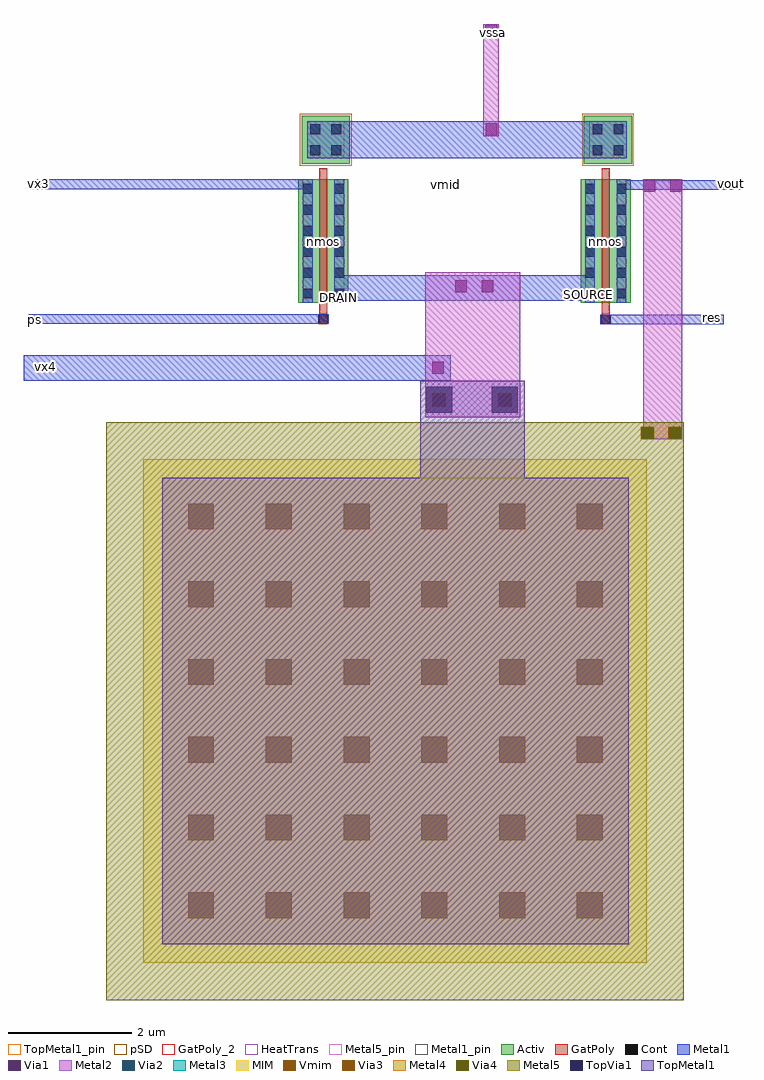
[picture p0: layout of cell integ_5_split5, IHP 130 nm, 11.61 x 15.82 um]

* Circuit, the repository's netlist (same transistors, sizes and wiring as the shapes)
** sch_path: /foss/designs/integ_5_split5.sch
.subckt integ_5_split5 res vout vx4 VSS ps vx3
*.PININFO res:I vssa:B vout:O vx3:B ps:B vx4:B
M1 vout res vx4 VSS sg13_lv_nmos L=0.13u W=2u ng=1 m=1
C1 vx4 vout cap_cmim W=8.16e-6 L=8.16e-6 MF=1
M2 vx4 ps vx3 VSS sg13_lv_nmos L=0.13u W=2u ng=1 m=1
.ends
.end

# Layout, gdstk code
from math import pi, radians
import gdstk
lib = gdstk.Library(unit=1e-6, precision=1e-09)
def R(c, l, rs):  # rectangles x0, y0, x1, y1
    for r in rs: c.add(gdstk.rectangle(r[:2], r[2:], *l))
def A(c, l, x, y, w, h, nx, ny, dx, dy):  # array of equal rectangles
    R(c, l, [(x+i*dx, y+j*dy, x+i*dx+w, y+j*dy+h) for i in range(nx) for j in range(ny)])
Activ = (1, 0)
GatPoly = (5, 0)
GatPoly_2 = (5, 2)
Cont = (6, 0)
Metal1 = (8, 0)
Metal1_pin = (8, 2)
Metal2 = (10, 0)
pSD = (14, 0)
Via1 = (19, 0)
Via2 = (29, 0)
Metal3 = (30, 0)
MIM = (36, 0)
Via3 = (49, 0)
Metal4 = (50, 0)
HeatTrans = (51, 0)
Via4 = (66, 0)
Metal5 = (67, 0)
Metal5_pin = (67, 2)
TopVia1 = (125, 0)
TopMetal1 = (126, 0)
TopMetal1_pin = (126, 2)
Vmim = (129, 0)

cmim = lib.new_cell('cmim')
R(cmim, MIM, [(0,0,8.16,8.16)])
R(cmim, Metal5, [(-0.6,-0.6,8.76,8.76)])
R(cmim, Metal5_pin, [(-0.6,-0.6,8.76,8.76)])
R(cmim, TopMetal1, [(0.295,0.295,7.855,7.855)])
R(cmim, TopMetal1_pin, [(0.295,0.295,7.855,7.855)])
A(cmim, Vmim, 0.715, 0.715, 0.42, 0.42, 6, 6, 1.26, 1.26)

integ_5_split5 = lib.new_cell('integ_5_split5')
R(integ_5_split5, Activ, [(-0.577,-1.81,0.233,0.19), (3.999,-1.81,4.809,0.19), (-0.577,-0.11,-0.277,0.19), (-0.067,-0.11,0.233,0.19), (3.999,-0.11,4.299,0.19), (4.509,-0.11,4.809,0.19), (-0.526,0.442,0.254,1.222), (4.05,0.442,4.83,1.222)])
R(integ_5_split5, GatPoly, [(-0.237,-2.159,-0.107,0.37), (4.339,-2.158,4.469,0.37)])
R(integ_5_split5, GatPoly_2, [(-0.237,-1.99,-0.107,0.37), (-0.237,-1.99,-0.107,0.37), (4.339,-1.99,4.469,0.37), (4.339,-1.99,4.469,0.37)])
A(integ_5_split5, Cont, -0.507, -1.74, 0.16, 0.16, 1, 6, 0, 0.34)
A(integ_5_split5, Cont, 0.003, -1.74, 0.16, 0.16, 1, 6, 0, 0.34)
A(integ_5_split5, Cont, 4.069, -1.74, 0.16, 0.16, 1, 6, 0, 0.34)
A(integ_5_split5, Cont, 4.579, -1.74, 0.16, 0.16, 1, 6, 0, 0.34)
R(integ_5_split5, Cont, [(4.324,-2.16,4.484,-2), (-0.257,-2.153,-0.097,-1.993), (-0.386,0.582,-0.226,0.742), (-0.046,0.582,0.114,0.742), (4.19,0.582,4.35,0.742), (4.53,0.582,4.69,0.742), (-0.386,0.922,-0.226,1.082), (-0.046,0.922,0.114,1.082), (4.19,0.922,4.35,1.082), (4.53,0.922,4.69,1.082)])
R(integ_5_split5, Metal1, [(-5.029,-3.071,1.893,-2.658), (4.314,-2.16,6.314,-2), (-4.949,-2.153,-0.087,-1.993), (-0.507,-1.81,-0.347,0.19), (0.003,-1.81,0.163,0.19), (4.069,-1.81,4.229,0.19), (4.579,-1.81,4.739,0.19), (0.042,-1.775,4.121,-1.362), (4.584,0.018,6.584,0.178), (-4.884,0.03,-0.353,0.19), (-0.436,0.532,0.164,1.132), (0.1,0.532,4.74,1.132)])
R(integ_5_split5, Metal1_pin, [(-0.507,-1.81,-0.347,0.19), (-0.507,-1.81,-0.347,0.19), (0.003,-1.81,0.163,0.19), (0.003,-1.81,0.163,0.19), (4.069,-1.81,4.229,0.19), (4.069,-1.81,4.229,0.19), (4.579,-1.81,4.739,0.19), (4.579,-1.81,4.739,0.19), (-0.436,0.532,0.164,1.132), (4.14,0.532,4.74,1.132)])
R(integ_5_split5, Metal2, [(4.976,-4.024,5.185,-3.82), (5.419,-4.024,5.628,-3.82), (5.008,-4.023,5.646,0.19), (1.479,-3.665,3.018,-1.318), (1.604,-3.487,1.808,-3.278), (2.667,-3.487,2.871,-3.278), (2.421,0.888,2.669,2.708)])
R(integ_5_split5, pSD, [(-0.556,0.412,0.284,1.252), (4.02,0.412,4.86,1.252)])
R(integ_5_split5, Via1, [(1.609,-3.477,1.799,-3.287), (2.672,-3.477,2.862,-3.287), (1.588,-2.958,1.778,-2.768), (1.961,-1.638,2.151,-1.448), (2.394,-1.638,2.584,-1.448), (5.013,-0.007,5.203,0.183), (5.446,-0.007,5.636,0.183), (2.458,0.907,2.648,1.097), (2.452,2.505,2.642,2.695)])
R(integ_5_split5, Via2, [(4.986,-4.015,5.176,-3.825), (5.429,-4.015,5.619,-3.825), (1.609,-3.477,1.799,-3.287), (2.672,-3.477,2.862,-3.287)])
R(integ_5_split5, Metal3, [(4.978,-4.024,5.186,-3.818), (5.421,-4.024,5.629,-3.818), (1.602,-3.485,1.808,-3.277), (2.665,-3.485,2.871,-3.277)])
R(integ_5_split5, Via3, [(4.986,-4.015,5.176,-3.825), (5.429,-4.015,5.619,-3.825), (1.609,-3.477,1.799,-3.287), (2.672,-3.477,2.862,-3.287)])
R(integ_5_split5, Metal4, [(4.971,-4.025,5.189,-3.815), (5.414,-4.025,5.632,-3.815), (1.599,-3.492,1.809,-3.274), (2.662,-3.492,2.872,-3.274)])
R(integ_5_split5, HeatTrans, [(-0.237,-1.99,-0.107,0.37), (4.339,-1.99,4.469,0.37)])
R(integ_5_split5, Via4, [(4.986,-4.015,5.176,-3.825), (5.429,-4.015,5.619,-3.825), (1.609,-3.477,1.799,-3.287), (2.672,-3.477,2.862,-3.287)])
R(integ_5_split5, Metal5, [(1.594,-3.497,1.814,-3.269), (2.657,-3.497,2.877,-3.269)])
R(integ_5_split5, TopVia1, [(1.494,-3.592,1.914,-3.172), (2.557,-3.592,2.977,-3.172)])
R(integ_5_split5, TopMetal1, [(1.395,-5.134,3.094,-3.07)])
integ_5_split5.add(gdstk.Reference(cmim, (5.07,-4.348), rotation=pi))
integ_5_split5.add(gdstk.Label('nmos', (4.404,-0.81), layer=51, texttype=0))
integ_5_split5.add(gdstk.Label('nmos', (-0.172,-0.81), layer=51, texttype=0))
integ_5_split5.add(gdstk.Label('res', (6.115,-2.055), layer=8, texttype=25))
integ_5_split5.add(gdstk.Label('vout', (6.439,0.129), layer=8, texttype=25))
integ_5_split5.add(gdstk.Label('vssa', (2.565,2.569), layer=8, texttype=25))
integ_5_split5.add(gdstk.Label('ps', (-4.849,-2.086), layer=8, texttype=25))
integ_5_split5.add(gdstk.Label('SOURCE', (4.117,-1.682), layer=8, texttype=25))
integ_5_split5.add(gdstk.Label('DRAIN', (0.066,-1.721), layer=8, texttype=25))
integ_5_split5.add(gdstk.Label('vx4', (-4.683,-2.848), layer=8, texttype=25))
integ_5_split5.add(gdstk.Label('vmid', (1.805,0.114), layer=8, texttype=25))
integ_5_split5.add(gdstk.Label('vx3', (-4.796,0.121), layer=8, texttype=25))

lib.write_gds('integ_5_split5.gds')
